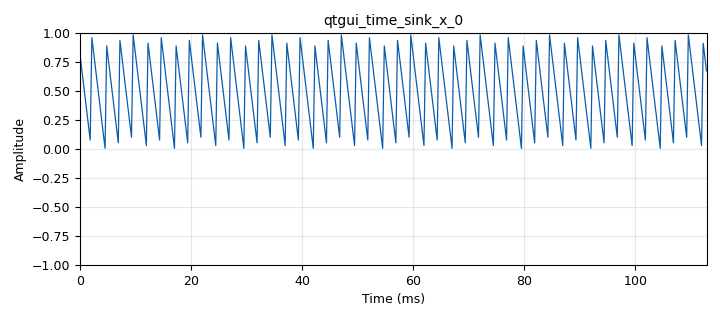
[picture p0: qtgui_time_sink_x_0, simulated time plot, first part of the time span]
options:
  parameters:
    generate_options: qt_gui
    id: Practica3_2
    output_language: python
    title: Practica3_2
  states: {}

blocks:
- name: amplitud
  id: variable_qtgui_range
  parameters:
    label: Amplitud
    orient: Qt.Horizontal
    start: '0'
    step: '1'
    stop: '30'
    value: '1'
  states: {}
- name: samp_rate
  id: variable
  parameters:
    value: '3360'
  states: {}
- name: Practica3_0
  id: Practica3
  parameters:
    I_vect: '1024'
  states: {}
- name: analog_sig_source_x_0
  id: analog_sig_source_x
  parameters:
    amp: amplitud
    freq: '50000'
    offset: '0'
    phase: '0'
    samp_rate: samp_rate
    type: float
    waveform: analog.GR_SAW_WAVE
  states: {}
- name: analog_sig_source_x_1
  id: analog_sig_source_x
  parameters:
    amp: '1'
    freq: '3360'
    offset: '0'
    phase: '0'
    samp_rate: samp_rate
    type: float
    waveform: analog.GR_COS_WAVE
  states: {}
- name: blocks_multiply_xx_0
  id: blocks_multiply_xx
  parameters:
    type: float
  states: {}
- name: qtgui_time_sink_x_0
  id: qtgui_time_sink_x
  parameters:
    size: '1024'
    srate: samp_rate
    type: float
  states: {}

connections:
- [analog_sig_source_x_0, '0', blocks_multiply_xx_0, '0']
- [analog_sig_source_x_1, '0', blocks_multiply_xx_0, '1']
- [blocks_multiply_xx_0, '0', Practica3_0, '0']
- [blocks_multiply_xx_0, '0', qtgui_time_sink_x_0, '0']

metadata:
  file_format: 1
